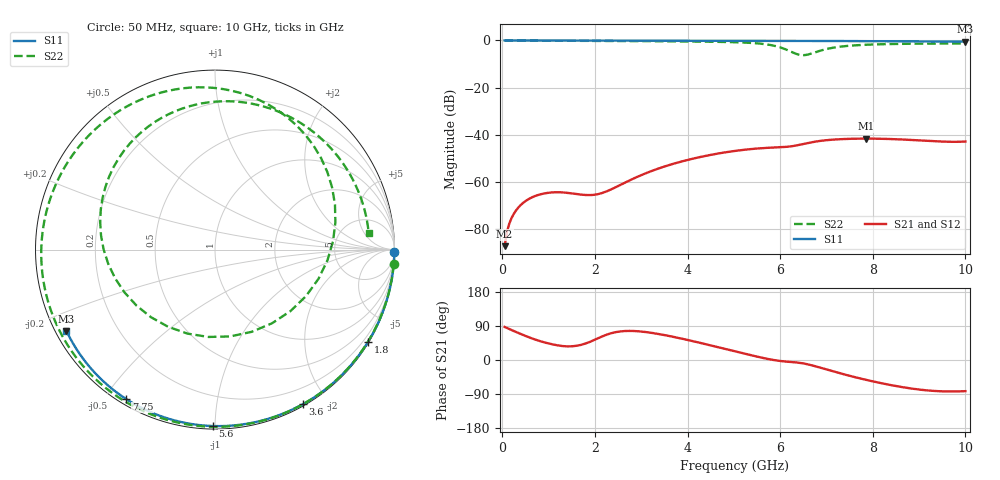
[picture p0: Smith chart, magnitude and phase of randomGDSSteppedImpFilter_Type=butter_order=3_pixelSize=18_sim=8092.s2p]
! freq	dB(S11)	phase(S11)	dB(S12)	phase(S12)
!  dB(S21)	phase(S21)	dB(S22)	phase(S22)
!S-par simulation data
#  GHz  S  DB  R 50
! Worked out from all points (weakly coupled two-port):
!   200 points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, 50 MHz to 10 GHz, reference 50 ohm
!   highest |S21| = -41.56 dB at 7.85 GHz (marker M1); lowest = -87.1 dB at 50 MHz (marker M2)
!   lowest |S11| = -0.5 dB at 10 GHz (marker M3), VSWR 34.47, Z = 1.55 - j12.8 ohm
!   |S11| at or under -10 dB: nowhere
!   |S22| runs from -6.2 to 0.0 dB; largest |S21 - S12| = 0
!   S11 on the Smith chart (normalised r, x): 50 MHz: open; 1.8 GHz: 0.03, -3.60; 3.6 GHz: 0.02, -1.72; 5.6 GHz: 0.02, -0.99; 7.75 GHz: 0.02, -0.57; 10 GHz: 0.03, -0.26
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0.05  -0.00 -0.9  -87.10 87.3  -87.10 87.3  -0.00 -4.7
0.4  -0.01 -7.0  -69.64 68.6  -69.64 68.6  -0.05 -36.5
0.85  -0.02 -14.8  -65.01 48.6  -65.01 48.6  -0.09 -73.1
1.25  -0.03 -21.7  -64.28 37.6  -64.28 37.6  -0.12 -100.4
1.75  -0.04 -30.2  -65.36 41.6  -65.36 41.6  -0.15 -128.3
1.8  -0.04 -31.0  -65.43 43.6  -65.43 43.6  -0.16 -130.8
2.55  -0.06 -43.5  -61.16 75.4  -61.16 75.4  -0.23 -163.4
3.4  -0.08 -57.3  -54.04 68.1  -54.04 68.1  -0.34 165.7
3.6  -0.08 -60.5  -52.76 63.4  -52.76 63.4  -0.37 158.8
4.35  -0.10 -72.1  -49.03 43.0  -49.03 43.0  -0.50 131.8
5.05  -0.13 -82.7  -46.70 22.1  -46.70 22.1  -0.76 101.3
5.6  -0.15 -90.7  -45.62 6.2  -45.62 6.2  -1.40 65.7
5.95  -0.16 -95.8  -45.27 -1.8  -45.27 -1.8  -2.64 27.9
6.15  -0.17 -98.6  -45.02 -4.4  -45.02 -4.4  -4.02 -5.4
6.45  -0.19 -102.8  -44.06 -8.0  -44.06 -8.0  -6.18 -80.2
6.7  -0.21 -106.3  -43.04 -14.5  -43.04 -14.5  -5.40 -144.6
7.05  -0.23 -111.2  -42.13 -26.7  -42.13 -26.7  -3.42 160.6
7.75  -0.28 -120.8  -41.57 -49.3  -41.57 -49.3  -1.91 106.0
7.85  -0.29 -122.1  -41.56 -52.2  -41.56 -52.2  -1.82 100.4
8.35  -0.33 -128.9  -41.72 -65.3  -41.72 -65.3  -1.53 75.7
9.2  -0.41 -140.4  -42.52 -80.5  -42.52 -80.5  -1.33 39.0
10  -0.50 -151.3  -42.79 -82.2  -42.79 -82.2  -1.30 6.2
